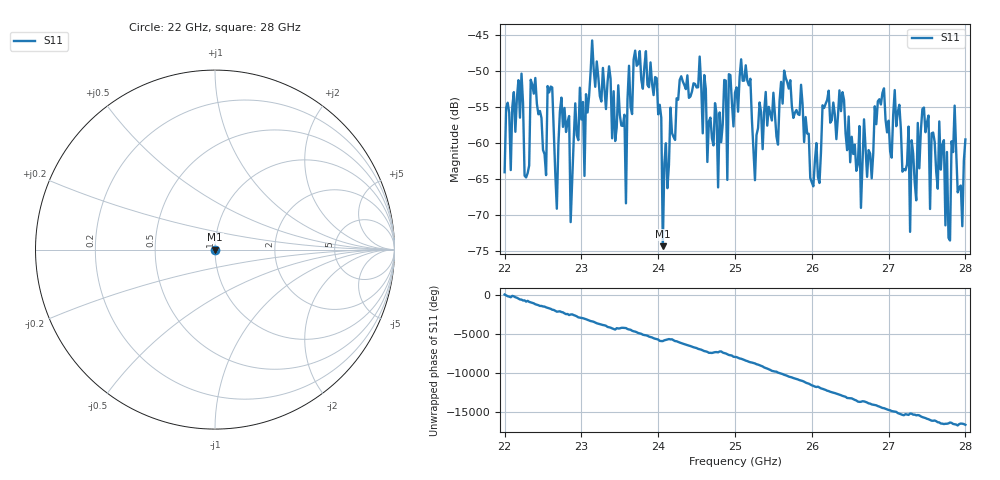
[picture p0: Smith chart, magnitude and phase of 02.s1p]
#  HZ  S  RI  R  50.00
! Rohde & Schwarz ZVA40 4Ports - Version 3.90 - 1145.1110k42 SN: 100403
! Date: 2023-10-04 11:48:12
! Measurement: S12
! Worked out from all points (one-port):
!   301 points, 22 GHz to 28 GHz, reference 50 ohm
!   lowest |S11| = -74.4 dB at 24.06 GHz (marker M1), VSWR 1.00, Z = 50 - j0.00721 ohm
!   |S11| at or under -10 dB: start of sweep to end of sweep
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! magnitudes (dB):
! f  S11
! 22 GHz  -64.1
! 22.22 GHz  -50.4
! 22.26 GHz  -64.6
! 22.34 GHz  -51.2
! 22.68 GHz  -69.2
! 22.76 GHz  -57.8
! 22.84 GHz  -56.3
! 22.86 GHz  -71.0
! 23.14 GHz  -45.7
! 23.5 GHz  -56.1
! 23.58 GHz  -68.4
! 23.62 GHz  -49.3
! 23.98 GHz  -51.0
! 24.04 GHz  -56.5
! 24.06 GHz  -74.4
! 24.26 GHz  -54.0
! 24.54 GHz  -48.0
! 24.78 GHz  -66.2
! 25 GHz  -53.0
! 25.76 GHz  -56.5
! 26.5 GHz  -62.7
! 27.26 GHz  -57.7
! 27.28 GHz  -72.4
! 27.44 GHz  -55.3
! 27.8 GHz  -73.6
! 27.86 GHz  -54.8
! 27.96 GHz  -71.6
! 28 GHz  -59.5
